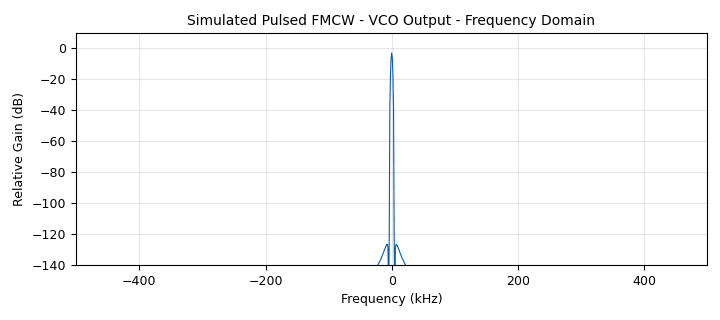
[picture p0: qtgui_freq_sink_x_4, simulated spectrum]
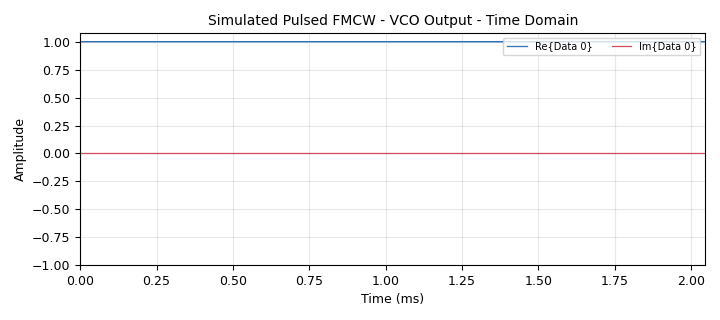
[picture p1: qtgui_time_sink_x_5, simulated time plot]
options:
  parameters:
    author: atsy_
    generate_options: qt_gui
    id: audo_fmcw_test
    output_language: python
    title: Not titled yet
  states: {}

blocks:
- name: bw
  id: variable
  parameters:
    value: 100e3
  states: {}
- name: duration
  id: variable
  parameters:
    value: '0.001'
  states: {}
- name: lpf_cutoff
  id: variable
  parameters:
    value: 120e3
  states: {}
- name: pi
  id: variable
  parameters:
    value: math.pi
  states: {}
- name: samp_rate
  id: variable
  parameters:
    value: 1e6
  states: {}
- name: vco_sensitivity
  id: variable
  parameters:
    value: 2*bw*pi
  states: {}
- name: blocks_delay_0
  id: blocks_delay
  parameters:
    delay: '50'
    type: complex
  states: {state: disabled}
- name: blocks_message_strobe_0
  id: blocks_message_strobe
  parameters:
    msg: pmt.intern("ping")
    period: '2'
  states: {}
- name: blocks_multiply_conjugate_cc_0
  id: blocks_multiply_conjugate_cc
  parameters: {}
  states: {state: disabled}
- name: blocks_multiply_const_vxx_0
  id: blocks_multiply_const_vxx
  parameters:
    const: '0.1'
    type: complex
  states: {state: disabled}
- name: blocks_throttle2_0
  id: blocks_throttle2
  parameters:
    samples_per_second: samp_rate
    type: complex
  states: {}
- name: blocks_vco_c_1
  id: blocks_vco_c
  parameters:
    amplitude: '1'
    samp_rate: samp_rate
    sensitivity: vco_sensitivity
  states: {}
- name: epy_block_0
  id: epy_block
  parameters:
    _source_code: |-
      """
      Embedded Python Blocks:

      Each time this file is saved, GRC will instantiate the first class it finds
      to get ports and parameters of your block. The arguments to __init__  will
      be the parameters. All of them are required to have default values!
      """

      import numpy as np
      from gnuradio import gr

      class blk(gr.sync_block):
          def __init__(self, samp_rate=1e6, bw=100e3, duration=70e-6, total_samples=70):
              gr.sync_block.__init__(
                  self,
                  name="FMCW Ramp with Idle (1MS/s)",
                  in_sig=None,
                  out_sig=[np.float32]
              )

              self.samp_rate = int(samp_rate)
              self.bw = bw
              self.duration = duration
              self.total_samples = int(total_samples)

              self.n_chirp = int(self.total_samples // 2)
              self.n_idle = int(self.total_samples - self.n_chirp)

              # Chirp ramp from -1 to 1 (control input for VCO)
              self.chirp = np.linspace(0, 1.0, self.n_chirp, dtype=np.float32)
              self.idle = np.zeros(self.n_idle, dtype=np.float32)

              self.frame = np.concatenate((self.chirp, self.idle))
              self.ptr = 0

          def work(self, input_items, output_items):
              out = output_items[0]
              
              for i in range(len(out)):
                  out[i] = self.frame[self.ptr]
                  self.ptr = (self.ptr + 1) % self.total_samples
              return len(out)
    bw: bw
    duration: '70e-6'
    samp_rate: samp_rate
    total_samples: samp_rate * duration
  states: {state: disabled}
- name: epy_block_1
  id: epy_block
  parameters:
    _source_code: |
      import numpy as np
      from gnuradio import gr
      import pmt

      class blk(gr.sync_block):
          def __init__(self, samp_rate=1e6, bw=100e3, chirp_duration=50e-6, idle_duration=500e-6):
              gr.sync_block.__init__(
                  self,
                  name="FMCW Pulse Triggered",
                  in_sig=None,
                  out_sig=[np.float32]
              )
              
              self.samp_rate = int(samp_rate)
              self.bw = bw
              self.chirp_samples = int(chirp_duration * self.samp_rate)
              self.idle_samples = int(idle_duration * self.samp_rate)
              self.total_samples = self.chirp_samples + self.idle_samples

              self.chirp = np.linspace(0.0, 1.0, self.chirp_samples, dtype=np.float32)
              self.idle = np.zeros(self.idle_samples, dtype=np.float32)
              self.pulse = np.concatenate((self.chirp, self.idle))

              self.send_pulse = False
              self.ptr = 0

              # Register message input
              self.message_port_register_in(pmt.intern("trigger"))
              self.set_msg_handler(pmt.intern("trigger"), self.trigger_pulse)

          def trigger_pulse(self, msg):
              self.send_pulse = True
              self.ptr = 0

          def work(self, input_items, output_items):
              out = output_items[0]
              n = len(out)

              if self.send_pulse:
                  remaining = self.total_samples - self.ptr
                  to_copy = min(n, remaining)
                  out[:to_copy] = self.pulse[self.ptr:self.ptr + to_copy]

                  if to_copy < n:
                      out[to_copy:] = 0.0

                  self.ptr += to_copy
                  if self.ptr >= self.total_samples:
                      self.send_pulse = False
              else:
                  out[:] = 0.0

              return len(out)
    bw: bw
    chirp_duration: '50e-05'
    idle_duration: '0.0005'
    samp_rate: int(samp_rate)
  states: {}
- name: import_0
  id: import
  parameters:
    imports: import math
  states: {}
- name: low_pass_filter_0
  id: low_pass_filter
  parameters:
    cutoff_freq: lpf_cutoff
    decim: '1'
    gain: '1'
    samp_rate: samp_rate
    type: fir_filter_ccf
    width: 20e3
    win: window.WIN_HAMMING
  states: {state: disabled}
- name: qtgui_freq_sink_x_0
  id: qtgui_freq_sink_x
  parameters:
    bw: samp_rate
    fc: '0'
    fftsize: '4096'
    type: complex
  states: {state: disabled}
- name: qtgui_freq_sink_x_1
  id: qtgui_freq_sink_x
  parameters:
    bw: samp_rate
    fc: '0'
    fftsize: '1024'
    type: float
  states: {state: disabled}
- name: qtgui_freq_sink_x_4
  id: qtgui_freq_sink_x
  parameters:
    bw: samp_rate
    fc: '0'
    fftsize: '1024'
    name: '"Simulated Pulsed FMCW - VCO Output - Frequency Domain"'
    norm_window: 'True'
    type: complex
  states: {}
- name: qtgui_time_sink_x_0
  id: qtgui_time_sink_x
  parameters:
    size: 1024*4
    srate: samp_rate
    type: complex
  states: {state: disabled}
- name: qtgui_time_sink_x_1
  id: qtgui_time_sink_x
  parameters:
    size: '1024'
    srate: samp_rate
    type: float
  states: {state: disabled}
- name: qtgui_time_sink_x_4
  id: qtgui_time_sink_x
  parameters:
    size: 1024*4
    srate: samp_rate
    type: float
  states: {state: disabled}
- name: qtgui_time_sink_x_5
  id: qtgui_time_sink_x
  parameters:
    name: '"Simulated Pulsed FMCW - VCO Output - Time Domain"'
    size: 1024*2
    srate: samp_rate
    type: complex
  states: {}

connections:
- [blocks_delay_0, '0', blocks_multiply_const_vxx_0, '0']
- [blocks_message_strobe_0, strobe, epy_block_1, trigger]
- [blocks_multiply_conjugate_cc_0, '0', low_pass_filter_0, '0']
- [blocks_throttle2_0, '0', qtgui_freq_sink_x_4, '0']
- [blocks_throttle2_0, '0', qtgui_time_sink_x_5, '0']
- [blocks_vco_c_1, '0', blocks_delay_0, '0']
- [blocks_vco_c_1, '0', blocks_multiply_conjugate_cc_0, '0']
- [blocks_vco_c_1, '0', blocks_throttle2_0, '0']
- [epy_block_0, '0', blocks_vco_c_1, '0']
- [epy_block_0, '0', qtgui_time_sink_x_4, '0']
- [epy_block_1, '0', blocks_vco_c_1, '0']
- [epy_block_1, '0', qtgui_freq_sink_x_1, '0']
- [epy_block_1, '0', qtgui_time_sink_x_1, '0']
- [low_pass_filter_0, '0', qtgui_freq_sink_x_0, '0']
- [low_pass_filter_0, '0', qtgui_time_sink_x_0, '0']

metadata:
  file_format: 1
  grc_version: 3.10.10.0
